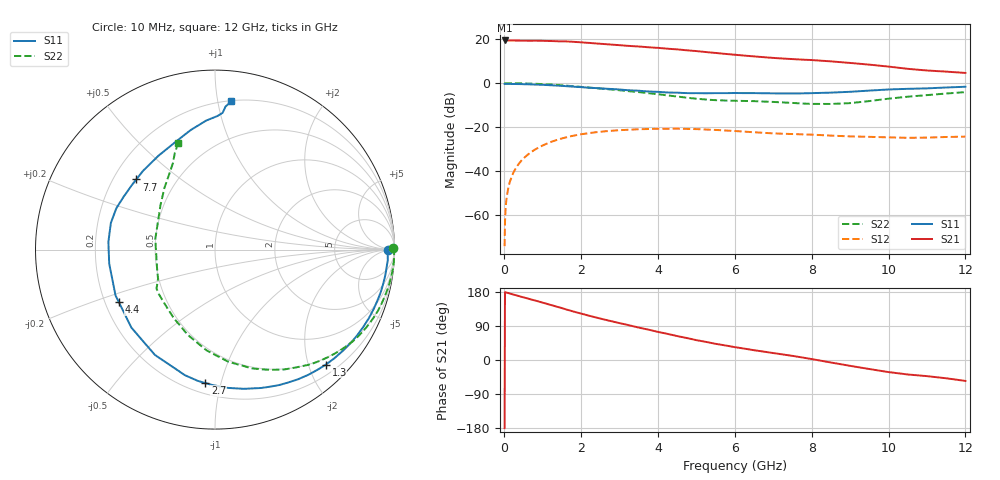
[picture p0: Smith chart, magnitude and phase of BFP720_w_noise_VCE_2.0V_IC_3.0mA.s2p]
! Infineon Technologies  Discrete & RF Semiconductors
! BFP720
! VCE =  2.0 V,  IC =  3.0 mA
! Common Emitter S-Parameters:  Aug 2012
# GHz  S  MA  R  50
!  f  S11  S21  S12  S22
! GHz  MAG  ANG  MAG  ANG  MAG  ANG  MAG  ANG
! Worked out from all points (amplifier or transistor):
!   105 points, 10 MHz to 12 GHz, reference 50 ohm
!   highest |S21| = 19.4 dB at 10 MHz (marker M1)
!   |S21| within 3 dB of that: start of sweep to 3.687 GHz
!   unconditionally stable (mu >= 1): start of sweep to 10.77 MHz; 7.192 GHz to 11.75 GHz
!   at 300 MHz: K = 0.02, MSG = 29.0 dB, |S12| = -38.6 dB
!   at 3.6 GHz: K = 0.37, MSG = 18.7 dB, |S12| = -20.9 dB
!   at 12 GHz: K = 0.89, MSG = 14.5 dB, |S12| = -24.3 dB
!   lowest NFmin = 0.36 dB at 450 MHz
!   S11 on the Smith chart (normalised r, x): 10 MHz: 52, -2; 1.3 GHz: 0.37, -2.30; 2.7 GHz: 0.27, -0.89; 4.4 GHz: 0.26, -0.24; 7.7 GHz: 0.29, +0.35; 12 GHz: 0.21, +1.09
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0.01  0.9626 -0.1  9.331 -179.8  0.0002 -15.7  0.9905 0.4
0.02  0.9641 -0.6  9.202 179.0  0.0007 94.4  0.9993 -0.5
0.06  0.9629 -2.0  9.321 177.9  0.0024 90.0  0.9983 -1.5
0.14  0.9625 -4.7  9.321 175.7  0.0055 86.5  0.9985 -3.5
0.25  0.9597 -8.5  9.304 172.4  0.0098 84.8  0.9965 -6.3
0.8  0.9316 -27.6  9.226 157.1  0.0311 71.7  0.9701 -20.5
1.3  0.8901 -46.0  9.013 142.7  0.0492 59.3  0.9221 -33.7
1.7  0.8455 -61.1  8.791 130.9  0.0616 49.5  0.8673 -43.9
2.1  0.801 -74.9  8.333 119.8  0.0713 40.1  0.8095 -53.4
2.7  0.7452 -94.2  7.619 104.5  0.082 27.7  0.7287 -66.6
3.5  0.6756 -119.7  6.813 85.6  0.0903 13.3  0.6279 -83.4
4.1  0.6267 -140.5  6.223 72.1  0.0925 3.6  0.5485 -97.1
4.4  0.6105 -151.5  5.934 65.5  0.0927 -1.0  0.5097 -104.8
5  0.5947 -172.4  5.358 52.3  0.0908 -9.8  0.4448 -121.3
5.5  0.5955 175.9  4.858 42.7  0.087 -15.9  0.4118 -133.1
6.1  0.5973 164.0  4.343 32.4  0.0811 -21.4  0.3974 -142.5
6.8  0.5902 153.0  3.865 21.4  0.0743 -25.1  0.3819 -147.9
7.7  0.5874 138.3  3.449 7.6  0.0692 -27.8  0.3484 -156.6
8.5  0.6106 121.0  3.129 -6.6  0.0646 -30.6  0.338 169.8
9.5  0.6792 101.6  2.638 -23.8  0.0606 -30.3  0.3927 140.6
10.5  0.7446 88.9  2.119 -38.2  0.0576 -29.3  0.4941 120.9
12  0.8303 83.8  1.71 -55.2  0.0613 -28.6  0.6273 109.1
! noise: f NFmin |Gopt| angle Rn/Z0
0.45  0.36  0.64  5  0.2
1.8  0.5  0.57  28  0.16
2.4  0.56  0.45  71  0.19
5.5  0.77  0.32  80  0.12
10  1.12  0.43  -102  0.21
